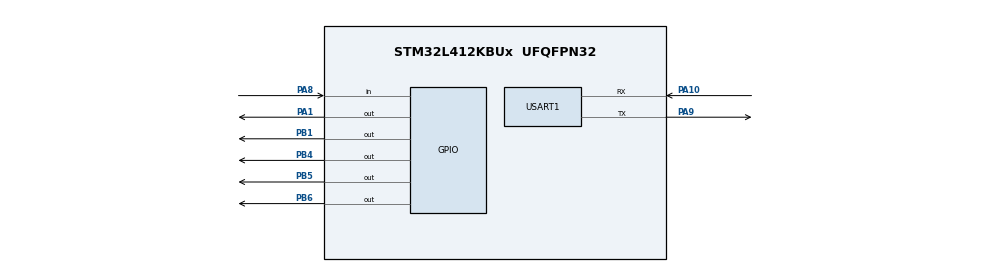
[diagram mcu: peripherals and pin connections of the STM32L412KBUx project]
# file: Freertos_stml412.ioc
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FREERTOS.Tasks01=defaultTask,24,128,StartDefaultTask,Default,NULL,Dynamic,NULL,NULL;readTask02,24,128,ReadTask02,Default,NULL,Dynamic,NULL,NULL;movementTask03,24,128,MovementTask03,Default,NULL,Dynamic,NULL,NULL
FREERTOS.configUSE_NEWLIB_REENTRANT=1
Mcu.Family=STM32L4
Mcu.Name=STM32L412KBUx
Mcu.Package=UFQFPN32
NVIC.PriorityGroup=NVIC_PRIORITYGROUP_4
NVIC.TIM1_UP_TIM16_IRQn=true\:15\:0\:false\:false\:true\:false\:false\:true\:true
NVIC.TIM6_IRQn=true\:5\:0\:false\:false\:true\:true\:true\:true\:true
NVIC.TimeBase=TIM1_UP_TIM16_IRQn
NVIC.TimeBaseIP=TIM1
NVIC.USART1_IRQn=true\:5\:0\:false\:false\:true\:true\:true\:true\:true
PA1.Signal=GPIO_Output
PA10.Mode=Asynchronous
PA10.Signal=USART1_RX
PA8.Signal=GPIO_Input
PA9.Mode=Asynchronous
PA9.Signal=USART1_TX
PB1.Signal=GPIO_Output
PB4\ (NJTRST).Signal=GPIO_Output
PB5.Signal=GPIO_Output
PB6.Signal=GPIO_Output
ProjectManager.HeapSize=0x200
ProjectManager.StackSize=0x400
ProjectManager.TargetToolchain=STM32CubeIDE
RCC.ADCFreq_Value=4000000
RCC.HSE_VALUE=8000000
RCC.HSI48_VALUE=48000000
RCC.HSI_VALUE=16000000
RCC.LSE_VALUE=32768
RCC.MSI_VALUE=4000000
RCC.USBFreq_Value=4000000
RCC.VCOOutputFreq_Value=32000000
TIM6.Period=999
TIM6.Prescaler=16
USART1.VirtualMode-Asynchronous=VM_ASYNC
VP_FREERTOS_VS_CMSIS_V2.Mode=CMSIS_V2
VP_SYS_VS_tim1.Mode=TIM1
VP_TIM6_VS_ClockSourceINT.Mode=Enable_Timer
board=custom

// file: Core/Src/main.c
/* USER CODE BEGIN Header */
/**
 ******************************************************************************
 * @file           : main.c
 * @brief          : Main program body
 ******************************************************************************
 * @attention
 *
 * Copyright (c) 2024 STMicroelectronics.
 * All rights reserved.
 *
 * This software is licensed under terms that can be found in the LICENSE file
 * in the root directory of this software component.
 * If no LICENSE file comes with this software, it is provided AS-IS.
 *
 ******************************************************************************
 */
/* USER CODE END Header */
#include "main.h"
#include "cmsis_os.h"

TIM_HandleTypeDef htim6;

UART_HandleTypeDef huart1;

/* Definitions for defaultTask */
osThreadId_t defaultTaskHandle;
const osThreadAttr_t defaultTask_attributes = { .name = "defaultTask",
		.stack_size = 128 * 4, .priority = (osPriority_t) osPriorityNormal, };
/* Definitions for readTask02 */
osThreadId_t readTask02Handle;
const osThreadAttr_t readTask02_attributes = { .name = "readTask02",
		.stack_size = 128 * 4, .priority = (osPriority_t) osPriorityNormal, };
/* Definitions for movementTask03 */
osThreadId_t movementTask03Handle;
const osThreadAttr_t movementTask03_attributes = { .name = "movementTask03",
		.stack_size = 128 * 4, .priority = (osPriority_t) osPriorityNormal, };
/* USER CODE BEGIN PV */

int timer_flag = 0;
int timer_counter = 0;

int movement_flag = 0;
/* USER CODE END PV */

void SystemClock_Config(void);
static void MX_GPIO_Init(void);
static void MX_TIM6_Init(void);
static void MX_USART1_UART_Init(void);
void StartDefaultTask(void *argument);
void ReadTask02(void *argument);
void MovementTask03(void *argument);

int main(void) {

	/* MCU Configuration--------------------------------------------------------*/

	/* Reset of all peripherals, Initializes the Flash interface and the Systick. */
	HAL_Init();

	/* Configure the system clock */
	SystemClock_Config();

	/* Initialize all configured peripherals */
	MX_GPIO_Init();
	MX_TIM6_Init();
	MX_USART1_UART_Init();
	/* USER CODE BEGIN 2 */
	HAL_TIM_Base_Start_IT(&htim6);
	HAL_GPIO_WritePin(GPIOB, GPIO_PIN_5, GPIO_PIN_RESET);
	/* USER CODE END 2 */

	/* Init scheduler */
	osKernelInitialize();

	/* Create the thread(s) */
	/* creation of defaultTask */
	defaultTaskHandle = osThreadNew(StartDefaultTask, NULL,
			&defaultTask_attributes);

	/* creation of readTask02 */
	readTask02Handle = osThreadNew(ReadTask02, NULL, &readTask02_attributes);

	/* creation of movementTask03 */
	movementTask03Handle = osThreadNew(MovementTask03, NULL,
			&movementTask03_attributes);

	/* Start scheduler */
	osKernelStart();

	/* We should never get here as control is now taken by the scheduler */
	/* Infinite loop */
	while (1) {

	}
}

void SystemClock_Config(void) {
	RCC_OscInitTypeDef RCC_OscInitStruct = { 0 };
	RCC_ClkInitTypeDef RCC_ClkInitStruct = { 0 };

	/** Configure the main internal regulator output voltage
	 */
	if (HAL_PWREx_ControlVoltageScaling(PWR_REGULATOR_VOLTAGE_SCALE1)
			!= HAL_OK) {
		Error_Handler();
	}

	/** Initializes the RCC Oscillators according to the specified parameters
	 * in the RCC_OscInitTypeDef structure.
	 */
	RCC_OscInitStruct.OscillatorType = RCC_OSCILLATORTYPE_MSI;
	RCC_OscInitStruct.MSIState = RCC_MSI_ON;
	RCC_OscInitStruct.MSICalibrationValue = 0;
	RCC_OscInitStruct.MSIClockRange = RCC_MSIRANGE_6;
	RCC_OscInitStruct.PLL.PLLState = RCC_PLL_NONE;
	if (HAL_RCC_OscConfig(&RCC_OscInitStruct) != HAL_OK) {
		Error_Handler();
	}

	/** Initializes the CPU, AHB and APB buses clocks
	 */
	RCC_ClkInitStruct.ClockType = RCC_CLOCKTYPE_HCLK | RCC_CLOCKTYPE_SYSCLK
			| RCC_CLOCKTYPE_PCLK1 | RCC_CLOCKTYPE_PCLK2;
	RCC_ClkInitStruct.SYSCLKSource = RCC_SYSCLKSOURCE_MSI;
	RCC_ClkInitStruct.AHBCLKDivider = RCC_SYSCLK_DIV1;
	RCC_ClkInitStruct.APB1CLKDivider = RCC_HCLK_DIV1;
	RCC_ClkInitStruct.APB2CLKDivider = RCC_HCLK_DIV1;

	if (HAL_RCC_ClockConfig(&RCC_ClkInitStruct, FLASH_LATENCY_0) != HAL_OK) {
		Error_Handler();
	}
}

static void MX_TIM6_Init(void) {

	TIM_MasterConfigTypeDef sMasterConfig = { 0 };

	htim6.Instance = TIM6;
	htim6.Init.Prescaler = 16;
	htim6.Init.CounterMode = TIM_COUNTERMODE_UP;
	htim6.Init.Period = 999;
	htim6.Init.AutoReloadPreload = TIM_AUTORELOAD_PRELOAD_DISABLE;
	if (HAL_TIM_Base_Init(&htim6) != HAL_OK) {
		Error_Handler();
	}
	sMasterConfig.MasterOutputTrigger = TIM_TRGO_RESET;
	sMasterConfig.MasterSlaveMode = TIM_MASTERSLAVEMODE_DISABLE;
	if (HAL_TIMEx_MasterConfigSynchronization(&htim6, &sMasterConfig)
			!= HAL_OK) {
		Error_Handler();
	}

}

static void MX_USART1_UART_Init(void) {

	huart1.Instance = USART1;
	huart1.Init.BaudRate = 115200;
	huart1.Init.WordLength = UART_WORDLENGTH_8B;
	huart1.Init.StopBits = UART_STOPBITS_1;
	huart1.Init.Parity = UART_PARITY_NONE;
	huart1.Init.Mode = UART_MODE_TX_RX;
	huart1.Init.HwFlowCtl = UART_HWCONTROL_NONE;
	huart1.Init.OverSampling = UART_OVERSAMPLING_16;
	huart1.Init.OneBitSampling = UART_ONE_BIT_SAMPLE_DISABLE;
	huart1.AdvancedInit.AdvFeatureInit = UART_ADVFEATURE_NO_INIT;
	if (HAL_UART_Init(&huart1) != HAL_OK) {
		Error_Handler();
	}

}

static void MX_GPIO_Init(void) {
	GPIO_InitTypeDef GPIO_InitStruct = { 0 };

	/* GPIO Ports Clock Enable */
	__HAL_RCC_GPIOA_CLK_ENABLE();
	__HAL_RCC_GPIOB_CLK_ENABLE();

	/*Configure GPIO pin Output Level */
	HAL_GPIO_WritePin(GPIOA, GPIO_PIN_1, GPIO_PIN_RESET);

	/*Configure GPIO pin Output Level */
	HAL_GPIO_WritePin(GPIOB, GPIO_PIN_1 | GPIO_PIN_4 | GPIO_PIN_5 | GPIO_PIN_6,
			GPIO_PIN_RESET);

	/*Configure GPIO pin : PA1 */
	GPIO_InitStruct.Pin = GPIO_PIN_1;
	GPIO_InitStruct.Mode = GPIO_MODE_OUTPUT_PP;
	GPIO_InitStruct.Pull = GPIO_NOPULL;
	GPIO_InitStruct.Speed = GPIO_SPEED_FREQ_LOW;
	HAL_GPIO_Init(GPIOA, &GPIO_InitStruct);

	/*Configure GPIO pins : PB1 PB4 PB5 PB6 */
	GPIO_InitStruct.Pin = GPIO_PIN_1 | GPIO_PIN_4 | GPIO_PIN_5 | GPIO_PIN_6;
	GPIO_InitStruct.Mode = GPIO_MODE_OUTPUT_PP;
	GPIO_InitStruct.Pull = GPIO_NOPULL;
	GPIO_InitStruct.Speed = GPIO_SPEED_FREQ_LOW;
	HAL_GPIO_Init(GPIOB, &GPIO_InitStruct);

	/*Configure GPIO pin : PA8 */
	GPIO_InitStruct.Pin = GPIO_PIN_8;
	GPIO_InitStruct.Mode = GPIO_MODE_INPUT;
	GPIO_InitStruct.Pull = GPIO_NOPULL;
	HAL_GPIO_Init(GPIOA, &GPIO_InitStruct);

}

void StartDefaultTask(void *argument) {
	/* USER CODE BEGIN 5 */
	HAL_GPIO_WritePin(GPIOB, GPIO_PIN_4 | GPIO_PIN_5, GPIO_PIN_SET);
	/* Infinite loop */
	for (;;) {

	}

	/* USER CODE END 5 */
}

void ReadTask02(void *argument) {
	/* USER CODE BEGIN ReadTask02 */
	/* Infinite loop */
	for (;;) {
		if (HAL_GPIO_ReadPin(GPIOA, GPIO_PIN_8)) {
			movement_flag = 1;
		}

	}
	/* USER CODE END ReadTask02 */
}

void MovementTask03(void *argument) {
	/* USER CODE BEGIN MovementTask03 */
	/* Infinite loop */
	for (;;) {

		if (movement_flag) {
			HAL_GPIO_WritePin(GPIOB, GPIO_PIN_5, GPIO_PIN_SET);
			HAL_UART_Transmit(&huart1, "Movement\n\r", 10, 10);
			movement_flag = 0;
			osDelay(1000);
		}

		HAL_GPIO_WritePin(GPIOB, GPIO_PIN_5, GPIO_PIN_RESET);
	}
	/* USER CODE END MovementTask03 */
}

void HAL_TIM_PeriodElapsedCallback(TIM_HandleTypeDef *htim) {
	/* USER CODE BEGIN Callback 0 */

	if (htim == &htim6) {

//		if (movement_flag) {
//			timer_counter = 1000;
//		}
//
//		timer_counter--;
//
//		if (timer_counter == 0) {
//
//			timer_flag = 1;
//
//		}

	}

	/* USER CODE END Callback 0 */
	if (htim->Instance == TIM1) {
		HAL_IncTick();
	}
}

void Error_Handler(void) {
	__disable_irq();
	while (1) {
	}
}
